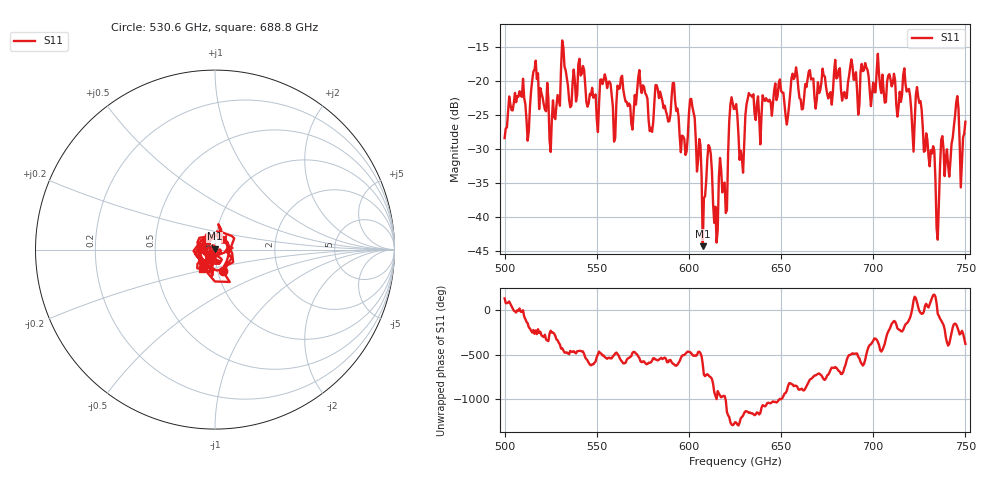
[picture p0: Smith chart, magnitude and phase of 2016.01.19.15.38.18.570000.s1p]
!Created with skrf (http://scikit-rf.org).
# GHz S RI R 50.0
!freq ReS11 ImS11
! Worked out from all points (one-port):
!   401 points, 500 GHz to 750 GHz, reference 50 ohm
!   lowest |S11| = -44.2 dB at 607.5 GHz (marker M1), VSWR 1.01, Z = 49.7 + j0.555 ohm
!   |S11| at or under -10 dB: start of sweep to end of sweep
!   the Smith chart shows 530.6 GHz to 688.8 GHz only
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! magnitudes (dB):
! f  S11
! 500 GHz  -28.4
! 508.8 GHz  -22.1
! 512.5 GHz  -28.8
! 516.9 GHz  -17.0
! 525.6 GHz  -25.7
! 531.2 GHz  -14.1
! 550 GHz  -25.6
! 555.6 GHz  -21.0
! 559.4 GHz  -28.9
! 562.5 GHz  -21.1
! 593.8 GHz  -24.0
! 598.1 GHz  -30.8
! 601.9 GHz  -23.8
! 607.5 GHz  -44.2
! 611.2 GHz  -29.7
! 614.4 GHz  -38.4
! 625 GHz  -24.0
! 628.8 GHz  -31.4
! 632.5 GHz  -21.8
! 653.1 GHz  -26.4
! 656.2 GHz  -18.9
! 687.5 GHz  -18.0
! 718.8 GHz  -21.3
! 725 GHz  -23.2
! 735 GHz  -43.3
! 745 GHz  -23.2
! 748.1 GHz  -32.0
! 750 GHz  -26.0
